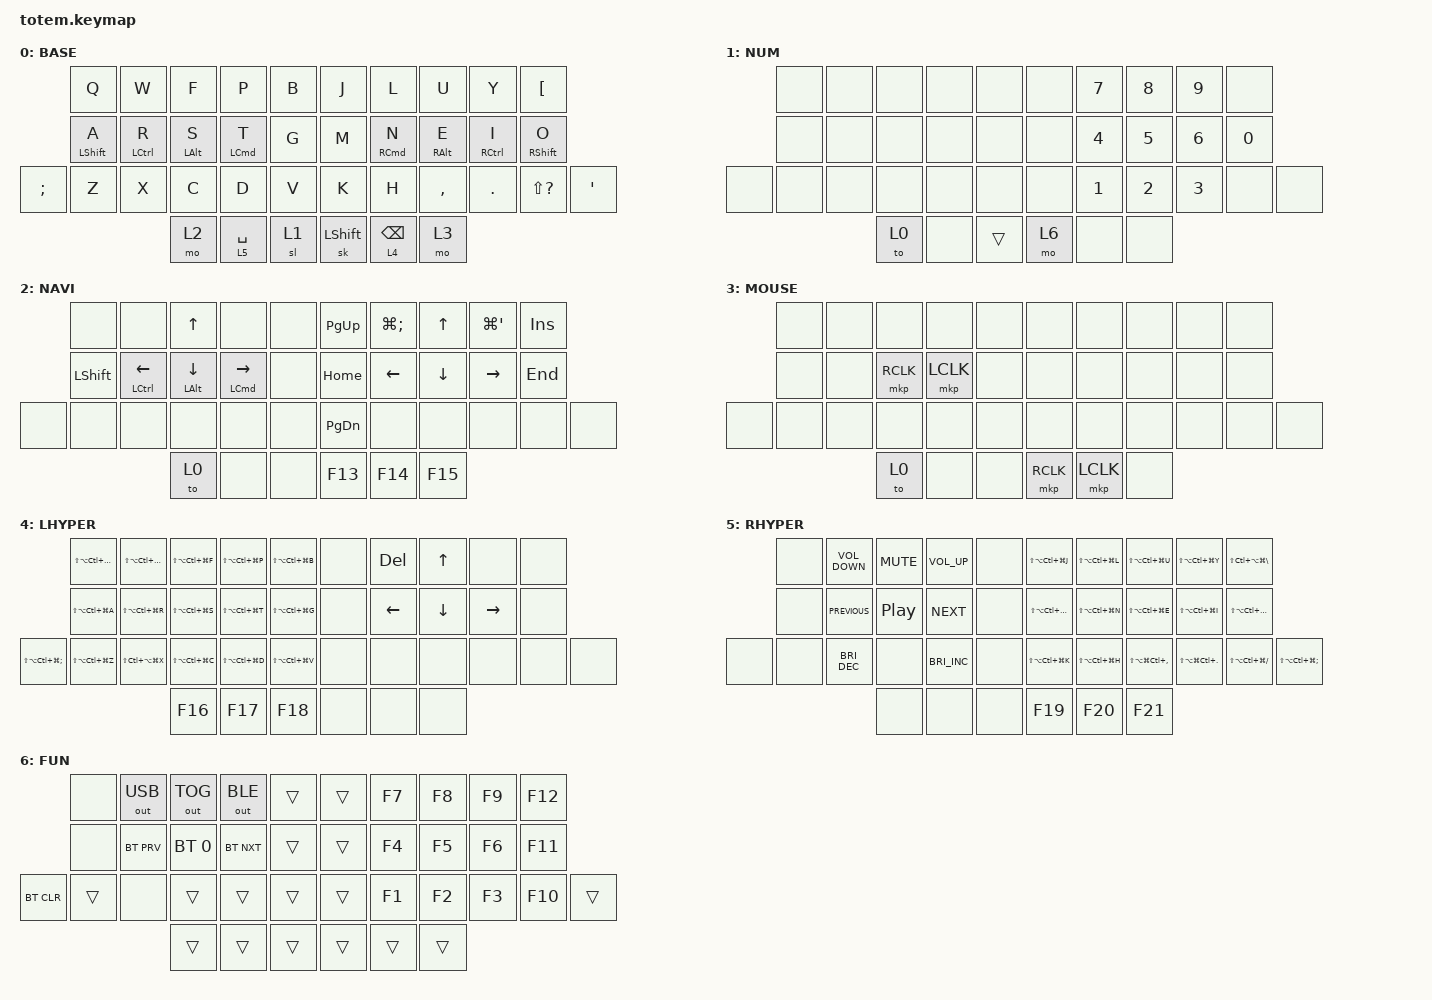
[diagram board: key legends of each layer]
//
//                                                        ▀▀▀▀▀     ▀▀▀▀▀          ▀▀█▀▀
//                                                        ▄▀▀▀▄  ▄  ▄▀▀▀▄  ▄  ▄▀▀▀▄  █  ▄▀▀▀▄
//                                                        █   █  █  █   █  █  █   █  █  █   █
//                                                         ▀▀▀   █   ▀▀▀   █   ▀▀▀   ▀   ▀▀▀
//                                                               █      ▄▄▄█▄▄▄    █   █  
//                                                               ▀      █  █  █     █▄█
//                                                             ▀▀▀▀▀    █  █  █      ▀
//                                                                      ▀  ▀  ▀
//
// ▄▄▄▄▄▄▄▄▄▄▄▄▄▄▄▄▄▄▄▄▄▄▄▄▄▄▄▄▄▄▄▄▄▄▄▄▄▄▄▄▄▄▄▄▄▄▄▄▄▄▄▄▄▄▄▄▄▄▄▄▄▄▄▄▄▄▄▄▄▄▄▄▄▄▄▄▄▄▄▄▄▄▄▄▄▄▄▄▄▄▄▄▄▄▄▄▄▄▄▄▄▄▄▄▄▄▄▄▄▄▄▄▄▄▄▄▄▄▄▄▄▄▄▄▄▄▄▄▄▄▄▄▄▄▄▄▄▄▄▄▄▄▄▄▄▄▄▄▄

#include <behaviors.dtsi>
#include <dt-bindings/zmk/bt.h>
#include <dt-bindings/zmk/keys.h>
#include <dt-bindings/zmk/mouse.h>
#include <dt-bindings/zmk/outputs.h>

#define BASE 0
#define NAV  1
#define SYM  2
#define ADJ  3
#define TVP1 4
#define TVP2 5

&mt {
    quick-tap-ms = <100>;
    global-quick-tap;
    flavor = "tap-preferred";
    tapping-term-ms = <170>;
};

/ {
    combos {
        compatible = "zmk,combos";

        combo_plus {
            bindings = <&kp PLUS>;
            key-positions = <6 16>;
            layers = <0 1>;
            require-prior-idle-ms = <100>;
        };

        combo_minus {
            bindings = <&kp MINUS>;
            key-positions = <16 27>;
            layers = <0 1>;
            require-prior-idle-ms = <100>;
        };

        combo_asterisk {
            bindings = <&kp LS(SQT)>;
            key-positions = <7 17>;
            layers = <0 1>;
            require-prior-idle-ms = <100>;
        };

        combo_slash {
            bindings = <&kp LS(SLASH)>;
            key-positions = <17 28>;
            layers = <0 1>;
            require-prior-idle-ms = <100>;
        };

        combo_ampersand {
            bindings = <&kp LS(NUMBER_6)>;
            key-positions = <8 18>;
            layers = <0 1>;
            require-prior-idle-ms = <100>;
        };

        combo_pipe {
            bindings = <&kp LA(NUMBER_6)>;
            key-positions = <18 29>;
            layers = <0 1>;
            require-prior-idle-ms = <100>;
        };

        combo_backwards {
            bindings = <&kp LA(LC(LG(J)))>;
            key-positions = <16 17>;
            require-prior-idle-ms = <100>;
            layers = <0 1>;
        };

        combo_forwards {
            bindings = <&kp LA(LC(LG(L)))>;
            key-positions = <17 18>;
            require-prior-idle-ms = <100>;
            layers = <0 1>;
        };

        combo_left_bracket {
            bindings = <&kp RA(N8)>;
            key-positions = <1 2>;
            require-prior-idle-ms = <100>;
            layers = <0 1>;
        };

        combo_right_bracket {
            bindings = <&kp RA(N9)>;
            key-positions = <2 3>;
            require-prior-idle-ms = <100>;
            layers = <0 1>;
        };

        combo_left_brace {
            bindings = <&kp RS(RA(N8))>;
            key-positions = <27 28>;
            require-prior-idle-ms = <100>;
            layers = <0 1>;
        };

        combo_right_brace {
            bindings = <&kp RS(RA(N9))>;
            key-positions = <28 29>;
            require-prior-idle-ms = <100>;
            layers = <0 1>;
        };

        combo_equal {
            bindings = <&kp LS(N0)>;
            key-positions = <8 6>;
            require-prior-idle-ms = <100>;
            layers = <0 1>;
        };

        combo_caret {
            bindings = <&kp LS(RIGHT_BRACKET)>;
            key-positions = <5 15>;
            require-prior-idle-ms = <100>;
            layers = <0 1>;
        };

        combo_underscore {
            bindings = <&kp LS(MINUS)>;
            key-positions = <15 26>;
            require-prior-idle-ms = <100>;
            layers = <0 1>;
        };

        combo_at_sign {
            bindings = <&kp RA(NUMBER_2)>;
            key-positions = <1 11>;
            require-prior-idle-ms = <100>;
            layers = <0 1>;
        };

        combo_percent {
            bindings = <&kp LS(N5)>;
            key-positions = <11 22>;
            require-prior-idle-ms = <100>;
            layers = <0 1>;
        };

        combo_hash {
            bindings = <&kp LS(NUMBER_3)>;
            key-positions = <2 12>;
            require-prior-idle-ms = <100>;
            layers = <0 1>;
        };

        combo_backslash {
            bindings = <&kp RS(RA(N7))>;
            key-positions = <12 23>;
            require-prior-idle-ms = <100>;
            layers = <0 1>;
        };

        combo_dollar_sign {
            bindings = <&kp RA(NUMBER_4)>;
            key-positions = <13 24>;
        };

        combo_euro_sign {
            bindings = <&kp RS(NUMBER_4)>;
            key-positions = <13 3>;
            require-prior-idle-ms = <100>;
            layers = <0 1>;
        };

        combo_tab_back {
            bindings = <&kp RS(TAB)>;
            key-positions = <11 12>;
            require-prior-idle-ms = <100>;
            layers = <0 1>;
        };

        combo_tab {
            bindings = <&kp TAB>;
            key-positions = <12 13>;
            require-prior-idle-ms = <100>;
            layers = <0 1>;
        };

        combo_less_than {
            bindings = <&kp LESS_THAN>;
            key-positions = <6 7>;
            require-prior-idle-ms = <100>;
            layers = <0 1>;
        };

        combo_greater_than {
            bindings = <&kp RS(LESS_THAN)>;
            key-positions = <7 8>;
            require-prior-idle-ms = <100>;
            layers = <0 1>;
        };

        combo_escape {
            bindings = <&kp ESCAPE>;
            key-positions = <11 12 13>;
            require-prior-idle-ms = <100>;
        };

        combo_return {
            bindings = <&kp RETURN>;
            key-positions = <16 17 18>;
            require-prior-idle-ms = <100>;
        };

        combo_tilde {
            bindings = <&kp TILDE>;
            key-positions = <3 1>;
            require-prior-idle-ms = <100>;
            layers = <0 1>;
        };

        combo_left_parenthesis {
            bindings = <&kp BACKSPACE>;
            key-positions = <22 23>;
            require-prior-idle-ms = <100>;
            layers = <0 1>;
        };

        combo_right_parenthesis {
            bindings = <&kp DELETE>;
            key-positions = <23 24>;
            require-prior-idle-ms = <100>;
            layers = <0 1>;
        };

        combo_next_space {
            bindings = <&kp LA(LC(LG(O)))>;
            key-positions = <17 18>;
            require-prior-idle-ms = <100>;
            layers = <4 5 2>;
        };

        combo_previous_space {
            bindings = <&kp LA(LC(LG(U)))>;
            key-positions = <16 17>;
            require-prior-idle-ms = <100>;
            layers = <4 5 2>;
        };

        combo_apostrophe {
            bindings = <&kp APOSTROPHE>;
            key-positions = <4 14>;
            require-prior-idle-ms = <100>;
            layers = <0 1>;
        };

        combo_double_quotes {
            bindings = <&kp LS(NUMBER_2)>;
            key-positions = <14 25>;
            require-prior-idle-ms = <100>;
            layers = <0 1>;
        };
    };

    macros {
        gif: gif {
            label = "giphy";
            compatible = "zmk,behavior-macro";
            #binding-cells = <0>;
            bindings =
                <&macro_press>,
                <&kp LSHFT>,
                <&macro_tap>,
                <&kp N2>,
                <&macro_release>,
                <&kp LSHFT>,
                <&macro_tap>,
                <&kp G &kp I &kp F>;
        };
    };

    keymap {
        compatible = "zmk,keymap";

        // ▄▄▄▄▄▄▄▄▄▄▄▄▄▄▄▄▄▄▄▄▄▄▄▄▄▄▄▄▄▄▄▄▄▄▄▄▄▄▄▄▄▄▄▄▄▄▄▄▄▄▄▄▄▄▄▄▄▄▄▄▄▄▄▄▄▄▄▄▄▄▄▄▄▄▄▄▄▄▄▄▄▄▄▄▄▄▄▄▄▄▄▄▄▄▄▄▄▄▄▄▄▄▄▄▄▄▄▄▄▄▄▄▄▄▄▄▄▄▄▄▄▄▄▄▄▄▄▄▄▄▄▄▄▄▄▄▄▄▄▄▄▄▄▄▄▄▄▄▄

        base_layer {
            // ┏━━━━━━━━━━━━━━━━━━━━━━━━━━━━━━━━━━━━━━━┓

            label = "BASE";

            // ┗━━━━━━━━━━━━━━━━━━━━━━━━━━━━━━━━━━━━━━━┛
            //             ┏━━━━━━━━━━━┳━━━━━━━━━━━┳━━━━━━━━━━━┳━━━━━━━━━━━┳━━━━━━━━━━━┓   ┏━━━━━━━━━━━┳━━━━━━━━━━━┳━━━━━━━━━━━┳━━━━━━━━━━━┳━━━━━━━━━━━┓
            //             ┃     Q     ┃     W     ┃     F     ┃     P     ┃     G     ┃   ┃     J     ┃     L     ┃     U     ┃     Y     ┃     ;     ┃
            //             ┣━━━━━━━━━━━╋━━━━━━━━━━━╋━━━━━━━━━━━╋━━━━━━━━━━━╋━━━━━━━━━━━┫   ┣━━━━━━━━━━━╋━━━━━━━━━━━╋━━━━━━━━━━━╋━━━━━━━━━━━╋━━━━━━━━━━━┫
            //             ┃     A     ┃     R     ┃     S     ┃     T     ┃     D     ┃   ┃     H     ┃     N     ┃     E     ┃     I     ┃     O     ┃
            // ┏━━━━━━━━━━━╋━━━━━━━━━━━╋━━━━━━━━━━━╋━━━━━━━━━━━╋━━━━━━━━━━━╋━━━━━━━━━━━┫   ┣━━━━━━━━━━━╋━━━━━━━━━━━╋━━━━━━━━━━━╋━━━━━━━━━━━╋━━━━━━━━━━━╋━━━━━━━━━━━┓
            // ┃     Q     ┃     Z     ┃     X     ┃     C     ┃     V     ┃     B     ┃   ┃     K     ┃     M     ┃     ,     ┃     .     ┃     /     ┃     \     ┃
            // ┗━━━━━━━━━━━┻━━━━━━━━━━━┻━━━━━━━━━━━╋━━━━━━━━━━━╋━━━━━━━━━━━╋━━━━━━━━━━━┫   ┣━━━━━━━━━━━╋━━━━━━━━━━━╋━━━━━━━━━━━╋━━━━━━━━━━━┻━━━━━━━━━━━┻━━━━━━━━━━━┛
            //                                     ┃    DEL    ┃    TAB    ┃    SPC    ┃   ┃   ENTER   ┃           ┃   BSPC    ┃
            //                                     ┗━━━━━━━━━━━┻━━━━━━━━━━━┻━━━━━━━━━━━┛   ┗━━━━━━━━━━━┻━━━━━━━━━━━┻━━━━━━━━━━━┛

            bindings = <
               &kp Q             &kp W        &kp F           &kp P               &kp B    &kp J           &kp L                &kp U            &kp Y        &kp LEFT_BRACKET
               &mt LEFT_SHIFT A  &mt LCTRL R  &mt LEFT_ALT S  &mt LEFT_COMMAND T  &kp G    &kp M           &mt RIGHT_COMMAND N  &mt RIGHT_ALT E  &mt RCTRL I  &mt RIGHT_SHIFT O
&kp SEMICOLON  &kp Z             &kp X        &kp C           &kp D               &kp V    &kp K           &kp H                &kp COMMA        &kp DOT      &kp LS(QUESTION)   &kp APOSTROPHE
                                              &mo 2           &lt 5 SPACE         &sl 1    &sk LEFT_SHIFT  &lt 4 BACKSPACE      &mo 3
            >;
        };

        number_layer {
            bindings = <
       &none  &none  &none  &none  &none     &none  &kp N7  &kp N8  &kp N9  &none
       &none  &none  &none  &none  &none     &none  &kp N4  &kp N5  &kp N6  &kp N0
&none  &none  &none  &none  &none  &none     &none  &kp N1  &kp N2  &kp N3  &none   &none
                     &to 0  &none  &trans    &mo 6  &none   &none
            >;

            label = "NUM";
        };

        nav_layer {
            // ┏━━━━━━━━━━━━━━━━━━━━━━━━━━━━━━━━━━━━━━━┓

            label = "NAVI";

            // ┗━━━━━━━━━━━━━━━━━━━━━━━━━━━━━━━━━━━━━━━┛
            //             ┏━━━━━━━━━━━┳━━━━━━━━━━━┳━━━━━━━━━━━┳━━━━━━━━━━━┳━━━━━━━━━━━┓   ┏━━━━━━━━━━━┳━━━━━━━━━━━┳━━━━━━━━━━━┳━━━━━━━━━━━┳━━━━━━━━━━━┓
            //             ┃           ┃           ┃     UP    ┃           ┃     {     ┃   ┃     }     ┃     7     ┃     8     ┃     9     ┃     +     ┃
            //             ┣━━━━━━━━━━━╋━━━━━━━━━━━╋━━━━━━━━━━━╋━━━━━━━━━━━╋━━━━━━━━━━━┫   ┣━━━━━━━━━━━╋━━━━━━━━━━━╋━━━━━━━━━━━╋━━━━━━━━━━━╋━━━━━━━━━━━┫
            //             ┃   SHIFT   ┃   LEFT    ┃    DOWN   ┃   RIGHT   ┃     [     ┃   ┃     ]     ┃     4     ┃     5     ┃     6     ┃     -     ┃
            // ┏━━━━━━━━━━━╋━━━━━━━━━━━╋━━━━━━━━━━━╋━━━━━━━━━━━╋━━━━━━━━━━━╋━━━━━━━━━━━┫   ┣━━━━━━━━━━━╋━━━━━━━━━━━╋━━━━━━━━━━━╋━━━━━━━━━━━╋━━━━━━━━━━━╋━━━━━━━━━━━┓
            // ┃           ┃           ┃   P UP    ┃  C LOCK   ┃  P DOWN   ┃     (     ┃   ┃     )     ┃     1     ┃     2     ┃     3     ┃     *     ┃           ┃
            // ┗━━━━━━━━━━━┻━━━━━━━━━━━┻━━━━━━━━━━━╋━━━━━━━━━━━╋━━━━━━━━━━━╋━━━━━━━━━━━┫   ┣━━━━━━━━━━━╋━━━━━━━━━━━╋━━━━━━━━━━━╋━━━━━━━━━━━┻━━━━━━━━━━━┻━━━━━━━━━━━┛
            //                                     ┃           ┃    TAB    ┃    SPC    ┃   ┃    DEL    ┃     0     ┃           ┃
            //                                     ┗━━━━━━━━━━━┻━━━━━━━━━━━┻━━━━━━━━━━━┛   ┗━━━━━━━━━━━┻━━━━━━━━━━━┻━━━━━━━━━━━┛

            bindings = <
       &none           &none                 &kp UP_ARROW             &none                         &none    &kp PAGE_UP    &kp LG(SEMICOLON)  &kp UP_ARROW    &kp LG(APOSTROPHE)  &kp INSERT
       &kp LEFT_SHIFT  &mt LCTRL LEFT_ARROW  &mt LEFT_ALT DOWN_ARROW  &mt LEFT_COMMAND RIGHT_ARROW  &none    &kp HOME       &kp LEFT_ARROW     &kp DOWN_ARROW  &kp RIGHT_ARROW     &kp END
&none  &none           &none                 &none                    &none                         &none    &kp PAGE_DOWN  &none              &none           &none               &none       &none
                                             &to 0                    &none                         &none    &kp F13        &kp F14            &kp F15
            >;
        };

        mouse_layer {
            bindings = <
       &none  &none  &none      &none      &none    &none      &none      &none  &none  &none
       &none  &none  &mkp RCLK  &mkp LCLK  &none    &none      &none      &none  &none  &none
&none  &none  &none  &none      &none      &none    &none      &none      &none  &none  &none  &none
                     &to 0      &none      &none    &mkp RCLK  &mkp LCLK  &none
            >;

            label = "MOUSE";
        };

        hyper_left_layer {
            bindings = <
                               &kp LS(LA(LC(LG(Q))))  &kp LS(LA(LC(LG(W))))  &kp LS(LA(LC(LG(F))))  &kp LS(LA(LC(LG(P))))  &kp LS(LA(LC(LG(B))))    &none  &kp DELETE      &kp UP_ARROW    &none            &none
                               &kp LS(LA(LC(LG(A))))  &kp LS(LA(LC(LG(R))))  &kp LS(LA(LC(LG(S))))  &kp LS(LA(LC(LG(T))))  &kp LS(LA(LC(LG(G))))    &none  &kp LEFT_ARROW  &kp DOWN_ARROW  &kp RIGHT_ARROW  &none
&kp LS(LA(LC(LG(SEMICOLON))))  &kp LS(LA(LC(LG(Z))))  &kp LS(LC(LA(LG(X))))  &kp LS(LA(LC(LG(C))))  &kp LS(LA(LC(LG(D))))  &kp LS(LA(LC(LG(V))))    &none  &none           &none           &none            &none  &none
                                                                             &kp F16                &kp F17                &kp F18                  &none  &none           &none
            >;

            label = "LHYPER";
        };

        hyper_right_layer {
            label = "RHYPER";
            bindings = <
       &none  &kp C_VOLUME_DOWN     &kp C_MUTE        &kp C_VOLUME_UP       &none    &kp LS(LA(LC(LG(J))))  &kp LS(LA(LC(LG(L))))  &kp LS(LA(LC(LG(U))))      &kp LS(LA(LC(LG(Y))))    &kp LS(LC(LA(LG(BSLH))))
       &none  &kp C_PREVIOUS        &kp C_PLAY_PAUSE  &kp C_NEXT            &none    &kp LS(LA(LC(LG(M))))  &kp LS(LA(LC(LG(N))))  &kp LS(LA(LC(LG(E))))      &kp LS(LA(LC(LG(I))))    &kp LS(LA(LC(LG(O))))
&none  &none  &kp C_BRIGHTNESS_DEC  &none             &kp C_BRIGHTNESS_INC  &none    &kp LS(LA(LC(LG(K))))  &kp LS(LA(LC(LG(H))))  &kp LS(LA(LG(LC(COMMA))))  &kp LS(LA(LG(LC(DOT))))  &kp LS(LA(LC(LG(FSLH))))  &kp LS(LA(LC(LG(SEMI))))
                                    &none             &none                 &none    &kp F19                &kp F20                &kp F21
            >;
        };

        function_layer {
            // ┏━━━━━━━━━━━━━━━━━━━━━━━━━━━━━━━━━━━━━━━┓

            label = "FUN";

            // ┗━━━━━━━━━━━━━━━━━━━━━━━━━━━━━━━━━━━━━━━┛
            //             ┏━━━━━━━━━━━┳━━━━━━━━━━━┳━━━━━━━━━━━┳━━━━━━━━━━━┳━━━━━━━━━━━┓   ┏━━━━━━━━━━━┳━━━━━━━━━━━┳━━━━━━━━━━━┳━━━━━━━━━━━┳━━━━━━━━━━━┓
            //             ┃   RESET   ┃ BT CLEAR  ┃  OUT TOG  ┃           ┃           ┃   ┃           ┃    F7     ┃    F8     ┃    F9     ┃    F12    ┃
            //             ┣━━━━━━━━━━━╋━━━━━━━━━━━╋━━━━━━━━━━━╋━━━━━━━━━━━╋━━━━━━━━━━━┫   ┣━━━━━━━━━━━╋━━━━━━━━━━━╋━━━━━━━━━━━╋━━━━━━━━━━━╋━━━━━━━━━━━┫
            //             ┃ BOOTLOAD  ┃ BT NEXT   ┃           ┃           ┃           ┃   ┃           ┃    F4     ┃    F5     ┃    F6     ┃    F11    ┃
            // ┏━━━━━━━━━━━╋━━━━━━━━━━━╋━━━━━━━━━━━╋━━━━━━━━━━━╋━━━━━━━━━━━╋━━━━━━━━━━━┫   ┣━━━━━━━━━━━╋━━━━━━━━━━━╋━━━━━━━━━━━╋━━━━━━━━━━━╋━━━━━━━━━━━╋━━━━━━━━━━━┓
            // ┃           ┃           ┃ BT PREV   ┃           ┃           ┃           ┃   ┃           ┃    F1     ┃    F2     ┃    F3     ┃    F10    ┃           ┃
            // ┗━━━━━━━━━━━┻━━━━━━━━━━━┻━━━━━━━━━━━╋━━━━━━━━━━━╋━━━━━━━━━━━╋━━━━━━━━━━━┫   ┣━━━━━━━━━━━╋━━━━━━━━━━━╋━━━━━━━━━━━╋━━━━━━━━━━━┻━━━━━━━━━━━┻━━━━━━━━━━━┛
            //                                     ┃           ┃           ┃           ┃   ┃           ┃           ┃           ┃
            //                                     ┗━━━━━━━━━━━┻━━━━━━━━━━━┻━━━━━━━━━━━┛   ┗━━━━━━━━━━━┻━━━━━━━━━━━┻━━━━━━━━━━━┛

            bindings = <
            &none   &out OUT_USB  &out OUT_TOG  &out OUT_BLE  &trans    &trans  &kp F7  &kp F8  &kp F9  &kp F12
            &none   &bt BT_PRV    &bt BT_SEL 0  &bt BT_NXT    &trans    &trans  &kp F4  &kp F5  &kp F6  &kp F11
&bt BT_CLR  &trans  &none         &trans        &trans        &trans    &trans  &kp F1  &kp F2  &kp F3  &kp F10  &trans
                                  &trans        &trans        &trans    &trans  &trans  &trans
            >;
        };
    };
};
